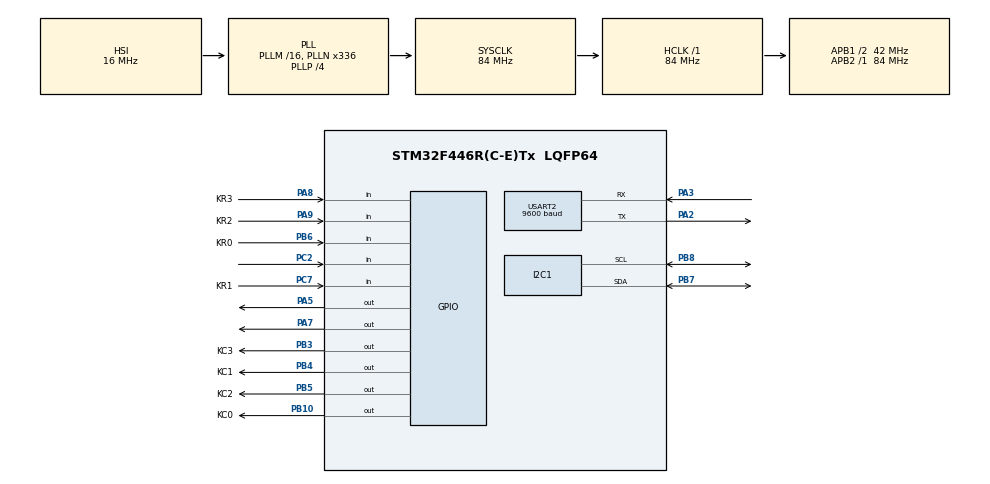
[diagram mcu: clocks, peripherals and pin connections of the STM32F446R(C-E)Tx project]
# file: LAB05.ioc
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FREERTOS.BinarySemaphores01=myBinarySem01,Dynamic,NULL
FREERTOS.Tasks01=defaultTask,0,128,StartDefaultTask,Default,NULL,Dynamic,NULL,NULL;taskPIR,0,128,StartTaskPIR,Default,NULL,Dynamic,NULL,NULL;taskBuzzer,0,128,StartTaskBuzzer,Default,NULL,Dynamic,NULL,NULL;PasswordTask,0,128,passwordSet,Default,NULL,Dynamic,NULL,NULL
I2C1.I2C_Mode=I2C_Fast
Mcu.Family=STM32F4
Mcu.Name=STM32F446R(C-E)Tx
Mcu.Package=LQFP64
NVIC.PriorityGroup=NVIC_PRIORITYGROUP_4
NVIC.TIM6_DAC_IRQn=true\:15\:0\:false\:false\:true\:false\:false\:true\:true
NVIC.TimeBase=TIM6_DAC_IRQn
NVIC.TimeBaseIP=TIM6
PA13.Mode=Serial_Wire
PA13.Signal=SYS_JTMS-SWDIO
PA14.Mode=Serial_Wire
PA14.Signal=SYS_JTCK-SWCLK
PA2.Mode=Asynchronous
PA2.Signal=USART2_TX
PA3.Mode=Asynchronous
PA3.Signal=USART2_RX
PA5.Signal=GPIO_Output
PA7.Signal=GPIO_Output
PA8.GPIO_Label=KR3
PA8.GPIO_PuPd=GPIO_PULLDOWN
PA8.Signal=GPIO_Input
PA9.GPIO_Label=KR2
PA9.GPIO_PuPd=GPIO_PULLDOWN
PA9.Signal=GPIO_Input
PB10.GPIO_Label=KC0
PB10.Signal=GPIO_Output
PB3.GPIO_Label=KC3
PB3.Signal=GPIO_Output
PB4.GPIO_Label=KC1
PB4.Signal=GPIO_Output
PB5.GPIO_Label=KC2
PB5.Signal=GPIO_Output
PB6.GPIO_Label=KR0
PB6.GPIO_PuPd=GPIO_PULLDOWN
PB6.Signal=GPIO_Input
PB7.Mode=I2C
PB7.Signal=I2C1_SDA
PB8.Mode=I2C
PB8.Signal=I2C1_SCL
PC14-OSC32_IN.Mode=LSE-External-Oscillator
PC14-OSC32_IN.Signal=RCC_OSC32_IN
PC15-OSC32_OUT.Mode=LSE-External-Oscillator
PC15-OSC32_OUT.Signal=RCC_OSC32_OUT
PC2.Signal=GPIO_Input
PC7.GPIO_Label=KR1
PC7.GPIO_PuPd=GPIO_PULLDOWN
PC7.Signal=GPIO_Input
PH0-OSC_IN.Mode=HSE-External-Oscillator
PH0-OSC_IN.Signal=RCC_OSC_IN
PH1-OSC_OUT.Mode=HSE-External-Oscillator
PH1-OSC_OUT.Signal=RCC_OSC_OUT
ProjectManager.HeapSize=0x200
ProjectManager.StackSize=0x400
ProjectManager.TargetToolchain=STM32CubeIDE
RCC.48MHZClocksFreq_Value=84000000
RCC.AHBFreq_Value=84000000
RCC.APB1CLKDivider=RCC_HCLK_DIV2
RCC.APB1Freq_Value=42000000
RCC.APB1TimFreq_Value=84000000
RCC.APB2Freq_Value=84000000
RCC.APB2TimFreq_Value=84000000
RCC.CortexFreq_Value=84000000
RCC.FLatency-AdvancedSettings=FLASH_LATENCY_2
RCC.HCLKFreq_Value=84000000
RCC.HSE_VALUE=8000000
RCC.HSI_VALUE=16000000
RCC.PLLN=336
RCC.PLLP=RCC_PLLP_DIV4
RCC.SYSCLKFreq_VALUE=84000000
RCC.SYSCLKSource=RCC_SYSCLKSOURCE_PLLCLK
RCC.USBFreq_Value=168000000
RCC.VCOOutputFreq_Value=336000000
USART2.BaudRate=9600
USART2.VirtualMode=VM_ASYNC
VP_FREERTOS_VS_CMSIS_V1.Mode=CMSIS_V1
VP_SYS_VS_tim6.Mode=TIM6
board=NUCLEO-F446RE

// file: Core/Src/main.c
/* USER CODE BEGIN Header */
/**
  **********
  * @file           : main.c
  * @brief          : Main program body
  **********
  * @attention
  *
  * Copyright (c) 2024 STMicroelectronics.
  * All rights reserved.
  *
  * This software is licensed under terms that can be found in the LICENSE file
  * in the root directory of this software component.
  * If no LICENSE file comes with this software, it is provided AS-IS.
  *
  **********
  */
/* USER CODE END Header */
#include "main.h"
#include "cmsis_os.h"

/* USER CODE BEGIN Includes */
#include "Keypad4X4.h"
#include <stdio.h>
#include <string.h>
#include <stdlib.h>
#include "fonts.h"
#include "ssd1306.h"
#include <stdarg.h>

/* USER CODE END Includes */

I2C_HandleTypeDef hi2c1;

UART_HandleTypeDef huart2;

osThreadId defaultTaskHandle;
osThreadId taskPIRHandle;
osThreadId taskBuzzerHandle;
osThreadId PasswordTaskHandle;
osSemaphoreId myBinarySem01Handle;
/* USER CODE BEGIN PV */
extern char key;
char key_2;
char hold[6];
bool armed = false;

volatile uint8_t motionDetected = 0;
/* USER CODE END PV */

void SystemClock_Config(void);
static void MX_GPIO_Init(void);
static void MX_USART2_UART_Init(void);
static void MX_I2C1_Init(void);
void StartDefaultTask(void const * argument);
void StartTaskPIR(void const * argument);
void StartTaskBuzzer(void const * argument);
void passwordSet(void const * argument);

/* USER CODE BEGIN 0 */
/**
  * @brief  The application entry point.
  * @retval int
  */
char* replaceCharsWithAsterisks(const char* input, int size) {
   // Allocate memory for the new array (+1 for the null terminator)
   char* result = (char*)malloc((size + 1) * sizeof(char));
   // Replace each char with an asterisk
   for (int i = 0; i < size; i++) {
       result[i] = '*';
   }
   // Add null terminator at the end
   result[size] = '\0';
   return result;
}
/* USER CODE END 0 */

int main(void)
{

  /* MCU Configuration--------------------------------------------------------*/

  /* Reset of all peripherals, Initializes the Flash interface and the Systick. */
  HAL_Init();

  /* Configure the system clock */
  SystemClock_Config();

  /* Initialize all configured peripherals */
  MX_GPIO_Init();
  MX_USART2_UART_Init();
  MX_I2C1_Init();
  /* USER CODE BEGIN 2 */
  /* USER CODE BEGIN 2 */
    SSD1306_Init();
    SSD1306_GotoXY (0,0);
    //SSD1306_Puts ("Voltage:", &Font_11x18, 1);
    SSD1306_Puts ("Enter Code:", &Font_11x18, 1);
    SSD1306_GotoXY (0, 30);
    SSD1306_UpdateScreen();
    SSD1306_UpdateScreen();
    HAL_Delay (500);

  /* USER CODE END 2 */

  /* Create the semaphores(s) */
  /* definition and creation of myBinarySem01 */
  osSemaphoreDef(myBinarySem01);
  myBinarySem01Handle = osSemaphoreCreate(osSemaphore(myBinarySem01), 1);

  /* Create the thread(s) */
  /* definition and creation of defaultTask */
  osThreadDef(defaultTask, StartDefaultTask, osPriorityNormal, 0, 128);
  defaultTaskHandle = osThreadCreate(osThread(defaultTask), NULL);

  /* definition and creation of taskPIR */
  osThreadDef(taskPIR, StartTaskPIR, osPriorityNormal, 0, 128);
  taskPIRHandle = osThreadCreate(osThread(taskPIR), NULL);

  /* definition and creation of taskBuzzer */
  osThreadDef(taskBuzzer, StartTaskBuzzer, osPriorityNormal, 0, 128);
  taskBuzzerHandle = osThreadCreate(osThread(taskBuzzer), NULL);

  /* definition and creation of PasswordTask */
  osThreadDef(PasswordTask, passwordSet, osPriorityNormal, 0, 128);
  PasswordTaskHandle = osThreadCreate(osThread(PasswordTask), NULL);

  /* Start scheduler */
  osKernelStart();

  /* We should never get here as control is now taken by the scheduler */
  /* Infinite loop */
  while (1)
  {

    /* USER CODE BEGIN 3 */
	/* D10 to D7 as input pins for row 0 to row 3. D6 to D3 as output for column pins C1 to C3*/

	  // configure code

  }
  /* USER CODE END 3 */
}

void SystemClock_Config(void)
{
  RCC_OscInitTypeDef RCC_OscInitStruct = {0};
  RCC_ClkInitTypeDef RCC_ClkInitStruct = {0};

  /** Configure the main internal regulator output voltage
  */
  __HAL_RCC_PWR_CLK_ENABLE();
  __HAL_PWR_VOLTAGESCALING_CONFIG(PWR_REGULATOR_VOLTAGE_SCALE3);

  /** Initializes the RCC Oscillators according to the specified parameters
  * in the RCC_OscInitTypeDef structure.
  */
  RCC_OscInitStruct.OscillatorType = RCC_OSCILLATORTYPE_HSI;
  RCC_OscInitStruct.HSIState = RCC_HSI_ON;
  RCC_OscInitStruct.HSICalibrationValue = RCC_HSICALIBRATION_DEFAULT;
  RCC_OscInitStruct.PLL.PLLState = RCC_PLL_ON;
  RCC_OscInitStruct.PLL.PLLSource = RCC_PLLSOURCE_HSI;
  RCC_OscInitStruct.PLL.PLLM = 16;
  RCC_OscInitStruct.PLL.PLLN = 336;
  RCC_OscInitStruct.PLL.PLLP = RCC_PLLP_DIV4;
  RCC_OscInitStruct.PLL.PLLQ = 2;
  RCC_OscInitStruct.PLL.PLLR = 2;
  if (HAL_RCC_OscConfig(&RCC_OscInitStruct) != HAL_OK)
  {
    Error_Handler();
  }

  /** Initializes the CPU, AHB and APB buses clocks
  */
  RCC_ClkInitStruct.ClockType = RCC_CLOCKTYPE_HCLK|RCC_CLOCKTYPE_SYSCLK
                              |RCC_CLOCKTYPE_PCLK1|RCC_CLOCKTYPE_PCLK2;
  RCC_ClkInitStruct.SYSCLKSource = RCC_SYSCLKSOURCE_PLLCLK;
  RCC_ClkInitStruct.AHBCLKDivider = RCC_SYSCLK_DIV1;
  RCC_ClkInitStruct.APB1CLKDivider = RCC_HCLK_DIV2;
  RCC_ClkInitStruct.APB2CLKDivider = RCC_HCLK_DIV1;

  if (HAL_RCC_ClockConfig(&RCC_ClkInitStruct, FLASH_LATENCY_2) != HAL_OK)
  {
    Error_Handler();
  }
}

static void MX_I2C1_Init(void)
{

  hi2c1.Instance = I2C1;
  hi2c1.Init.ClockSpeed = 400000;
  hi2c1.Init.DutyCycle = I2C_DUTYCYCLE_2;
  hi2c1.Init.OwnAddress1 = 0;
  hi2c1.Init.AddressingMode = I2C_ADDRESSINGMODE_7BIT;
  hi2c1.Init.DualAddressMode = I2C_DUALADDRESS_DISABLE;
  hi2c1.Init.OwnAddress2 = 0;
  hi2c1.Init.GeneralCallMode = I2C_GENERALCALL_DISABLE;
  hi2c1.Init.NoStretchMode = I2C_NOSTRETCH_DISABLE;
  if (HAL_I2C_Init(&hi2c1) != HAL_OK)
  {
    Error_Handler();
  }

}

static void MX_USART2_UART_Init(void)
{

  huart2.Instance = USART2;
  huart2.Init.BaudRate = 9600;
  huart2.Init.WordLength = UART_WORDLENGTH_8B;
  huart2.Init.StopBits = UART_STOPBITS_1;
  huart2.Init.Parity = UART_PARITY_NONE;
  huart2.Init.Mode = UART_MODE_TX_RX;
  huart2.Init.HwFlowCtl = UART_HWCONTROL_NONE;
  huart2.Init.OverSampling = UART_OVERSAMPLING_16;
  if (HAL_UART_Init(&huart2) != HAL_OK)
  {
    Error_Handler();
  }

}

static void MX_GPIO_Init(void)
{
  GPIO_InitTypeDef GPIO_InitStruct = {0};

  /* GPIO Ports Clock Enable */
  __HAL_RCC_GPIOC_CLK_ENABLE();
  __HAL_RCC_GPIOH_CLK_ENABLE();
  __HAL_RCC_GPIOA_CLK_ENABLE();
  __HAL_RCC_GPIOB_CLK_ENABLE();

  /*Configure GPIO pin Output Level */
  HAL_GPIO_WritePin(GPIOA, GPIO_PIN_5|GPIO_PIN_7, GPIO_PIN_RESET);

  /*Configure GPIO pin Output Level */
  HAL_GPIO_WritePin(GPIOB, KC0_Pin|KC3_Pin|KC1_Pin|KC2_Pin, GPIO_PIN_RESET);

  /*Configure GPIO pin : PC2 */
  GPIO_InitStruct.Pin = GPIO_PIN_2;
  GPIO_InitStruct.Mode = GPIO_MODE_INPUT;
  GPIO_InitStruct.Pull = GPIO_NOPULL;
  HAL_GPIO_Init(GPIOC, &GPIO_InitStruct);

  /*Configure GPIO pins : PA5 PA7 */
  GPIO_InitStruct.Pin = GPIO_PIN_5|GPIO_PIN_7;
  GPIO_InitStruct.Mode = GPIO_MODE_OUTPUT_PP;
  GPIO_InitStruct.Pull = GPIO_NOPULL;
  GPIO_InitStruct.Speed = GPIO_SPEED_FREQ_LOW;
  HAL_GPIO_Init(GPIOA, &GPIO_InitStruct);

  /*Configure GPIO pins : KC0_Pin KC3_Pin KC1_Pin KC2_Pin */
  GPIO_InitStruct.Pin = KC0_Pin|KC3_Pin|KC1_Pin|KC2_Pin;
  GPIO_InitStruct.Mode = GPIO_MODE_OUTPUT_PP;
  GPIO_InitStruct.Pull = GPIO_NOPULL;
  GPIO_InitStruct.Speed = GPIO_SPEED_FREQ_LOW;
  HAL_GPIO_Init(GPIOB, &GPIO_InitStruct);

  /*Configure GPIO pin : KR1_Pin */
  GPIO_InitStruct.Pin = KR1_Pin;
  GPIO_InitStruct.Mode = GPIO_MODE_INPUT;
  GPIO_InitStruct.Pull = GPIO_PULLDOWN;
  HAL_GPIO_Init(KR1_GPIO_Port, &GPIO_InitStruct);

  /*Configure GPIO pins : KR3_Pin KR2_Pin */
  GPIO_InitStruct.Pin = KR3_Pin|KR2_Pin;
  GPIO_InitStruct.Mode = GPIO_MODE_INPUT;
  GPIO_InitStruct.Pull = GPIO_PULLDOWN;
  HAL_GPIO_Init(GPIOA, &GPIO_InitStruct);

  /*Configure GPIO pin : KR0_Pin */
  GPIO_InitStruct.Pin = KR0_Pin;
  GPIO_InitStruct.Mode = GPIO_MODE_INPUT;
  GPIO_InitStruct.Pull = GPIO_PULLDOWN;
  HAL_GPIO_Init(KR0_GPIO_Port, &GPIO_InitStruct);

}

void StartDefaultTask(void const * argument)
{
  for(;;)
  {
    osDelay(1);
  }
}

void StartTaskPIR(void const * argument)
{
  /* USER CODE BEGIN StartTaskPIR */
  /* Infinite loop */
	 for(;;)
	  {

	    // Check if motion is detected
	    if (armed == true && HAL_GPIO_ReadPin(GPIOC, GPIO_PIN_2) == GPIO_PIN_SET) {

		  HAL_GPIO_WritePin(GPIOA, GPIO_PIN_7, GPIO_PIN_SET);
		  osDelay(1000);
	      // Wait a bit before next read to debounce
	    } else {
	        HAL_GPIO_WritePin(GPIOA, GPIO_PIN_7, GPIO_PIN_RESET);
	    }
	    osDelay(1000);

	  }
  /* USER CODE END StartTaskPIR */
}

void StartTaskBuzzer(void const * argument)
{
  /* USER CODE BEGIN StartTaskBuzzer */
 /* Infinite loop */
 for(;;)
 {
		  //HAL_GPIO_WritePin(GPIOA, GPIO_PIN_7, GPIO_PIN_SET);
		  //osDelay(2000);
		  //taskYIELD();
	  }
  /* USER CODE END StartTaskBuzzer */
}

void passwordSet(void const * argument)
{
  /* USER CODE BEGIN passwordSet */
  /* Infinite loop */
  for(;;)
  {
	  HAL_GPIO_TogglePin(GPIOA, GPIO_PIN_5);
	  	  int counter = 0;
	  	  for(int i = 0; i <= 6; i++){
	  		  key = Get_Key();
	  		  counter++;
	  		  if(key == '#' && (strlen(hold) == 4 || strlen(hold) == 6)){
	  			  SSD1306_GotoXY (0, 30);
	  			  SSD1306_UpdateScreen();
	  			  SSD1306_Puts ("ARME  ", &Font_11x18, 1);
	  			  SSD1306_UpdateScreen();
	  			  HAL_GPIO_WritePin(GPIOB, GPIO_PIN_14, GPIO_PIN_SET);
	  			  //HAL_GPIO_TogglePin(GPIOB,GPIO_PIN_14);//red LED
	  			  armed = true;

	  			  break;
	  		  }
	  //		  else if(strlen(hold) > 6){
	  //			  SSD1306_GotoXY (0, 30);
	  //			  SSD1306_UpdateScreen();
	  //			  SSD1306_Puts ("Re-entre", &Font_11x18, 1);
	  //			  SSD1306_UpdateScreen();
	  //
	  //			  HAL_Delay(3000);
	  //
	  //			  memset(hold,0,strlen(hold));
	  //
	  //			  SSD1306_UpdateScreen();
	  //			  SSD1306_Puts (hold, &Font_11x18, 1);
	  //			  SSD1306_UpdateScreen();
	  //
	  //		  }
	  		  else{
	  			  //sprintf(hold, "%c", key);
	  			  strcat(hold, &key);

	  			  SSD1306_GotoXY (0, 30);
	  			  SSD1306_UpdateScreen();

	  			  char* result = replaceCharsWithAsterisks(hold,counter);
	  			  SSD1306_Puts (result, &Font_11x18, 1);
	  			  SSD1306_UpdateScreen();
	  		  }
	  	  }
	  	  key_2 = key;
	  	  //logMessage(&huart2, "This is a test message", key_2);
	  	  // NON-ARMÉ
	  	  while(1){

	  	  char temp[6];
	  		  if(armed == true){
	  			  counter = 0;
	  			  SSD1306_GotoXY (0, 30);
	  			  SSD1306_Clear();
	  			  SSD1306_UpdateScreen();
	  			  SSD1306_Puts ("ARME", &Font_11x18, 1);
	  			  SSD1306_UpdateScreen();

	  			  HAL_GPIO_TogglePin(GPIOA, GPIO_PIN_5);

	  			  HAL_Delay(1500);

	  			  SSD1306_GotoXY (0, 30);
	  			  SSD1306_Clear();
	  			  SSD1306_UpdateScreen();

	  			  memset(temp, '\0', sizeof(temp));

	  			  for(int i = 0; i <= 6; i++){
	  			  		  key = Get_Key();
	  			  		  counter++;
	  			  		  if(key == '#'){
	  			  			  if(0 == strcmp(hold, temp))
	  			  			  armed = false;
	  			  			  break;
	  			  		  }
	  					  else if (key == hold[i]){
	  						  //sprintf(hold, "%c", key);
	  						  strcat(temp, &key);
	  						  armed = false;
	  						  SSD1306_GotoXY (0, 30);
	  						  SSD1306_UpdateScreen();
	  						  char* result = replaceCharsWithAsterisks(hold,counter);
	  						  SSD1306_Puts (result, &Font_11x18, 1);
	  						  //SSD1306_Puts (temp, &Font_11x18, 1);
	  						  SSD1306_UpdateScreen();

	  					  }
	  			  		else {
	  						  //sprintf(hold, "%c", key);
	  						  strcat(temp, &key);

	  						  SSD1306_GotoXY (0, 30);
	  						  SSD1306_UpdateScreen();
	  						  SSD1306_Puts (temp, &Font_11x18, 1);
	  						  SSD1306_UpdateScreen();
	  					  }
	  			  	}

	  //			  if(strcmp(temp, hold) == 0){
	  //				  SSD1306_GotoXY (0, 30);
	  //				  			  			  SSD1306_UpdateScreen();
	  //				SSD1306_Puts ("HERE", &Font_11x18, 1);
	  //
	  //	  			  SSD1306_UpdateScreen();
	  //				  armed = false;
	  //			  }

	  		  }
	  		  else {
	  			  SSD1306_GotoXY (0, 30);
	  			  SSD1306_Clear();
	  			  SSD1306_UpdateScreen();
	  			  SSD1306_Puts ("NON-ARME", &Font_11x18, 1);
	  			  SSD1306_UpdateScreen();
	  			  HAL_GPIO_WritePin(GPIOB, GPIO_PIN_13, GPIO_PIN_SET);
	  			  HAL_GPIO_WritePin(GPIOB, GPIO_PIN_14, GPIO_PIN_RESET);
	  			  //HAL_GPIO_TogglePin(GPIOB,GPIO_PIN_14);//red LED
	  			  //HAL_GPIO_TogglePin(GPIOB,GPIO_PIN_13);//green LED

	  			  HAL_GPIO_TogglePin(GPIOA, GPIO_PIN_5);

	  			  char temp[6];

	  			  HAL_Delay(1500);

	  			  SSD1306_Clear();
	  			  SSD1306_UpdateScreen();

	  			    memset(temp, '\0', sizeof(temp));
	  			    char star[6];
	  			    char ja = '*';

	  			  for(int i = 0; i <= 6; i++){
	  					  key = Get_Key();

	  					  if(key == '#'){
	  			  			  if(0 == strcmp(hold, temp))
	  						  armed = true;
	  						  break;
	  					  }
	  					  else{
	  						  //sprintf(hold, "%c", key);
	  						  strcat(temp, &key);
	  						  SSD1306_GotoXY (0, 30);
	  						  SSD1306_UpdateScreen();

	  						  SSD1306_Puts (temp, &Font_11x18, 1);
	  						  SSD1306_UpdateScreen();
	  					  }
	  				}
	  		  }
	  	  }
  }
  /* USER CODE END passwordSet */
}

void HAL_TIM_PeriodElapsedCallback(TIM_HandleTypeDef *htim)
{
  if (htim->Instance == TIM6) {
    HAL_IncTick();
  }
}

void Error_Handler(void)
{
  __disable_irq();
  while (1)
  {
  }
}
